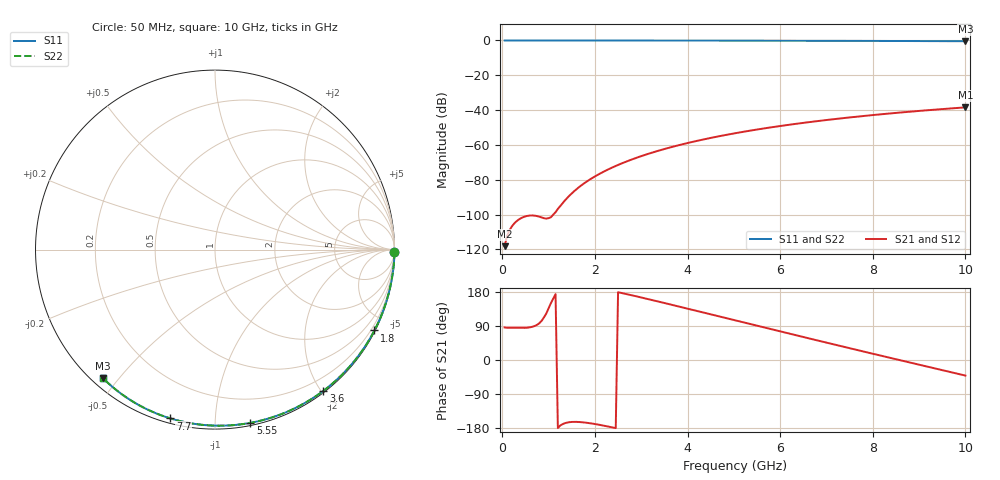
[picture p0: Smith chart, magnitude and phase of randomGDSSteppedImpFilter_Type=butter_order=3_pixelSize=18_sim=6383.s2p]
! freq	dB(S11)	phase(S11)	dB(S12)	phase(S12)
!  dB(S21)	phase(S21)	dB(S22)	phase(S22)
!S-par simulation data
#  GHz  S  DB  R 50
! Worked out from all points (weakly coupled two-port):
!   200 points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, 50 MHz to 10 GHz, reference 50 ohm
!   highest |S21| = -38.43 dB at 10 GHz (marker M1); lowest = -118.1 dB at 50 MHz (marker M2)
!   lowest |S11| = -0.4 dB at 10 GHz (marker M3), VSWR 39.17, Z = 1.54 - j22.7 ohm
!   |S11| at or under -10 dB: nowhere
!   |S22| runs from -0.4 to 0.0 dB; largest |S21 - S12| = 0
!   S11 on the Smith chart (normalised r, x): 50 MHz: open; 1.8 GHz: 0.04, -4.19; 3.6 GHz: 0.02, -2.03; 5.55 GHz: 0.02, -1.22; 7.7 GHz: 0.02, -0.77; 10 GHz: 0.03, -0.45
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0.05  -0.00 -0.8  -118.13 85.9  -118.13 85.9  -0.00 -0.8
0.9  -0.02 -13.6  -102.07 112.5  -102.07 112.5  -0.02 -13.6
1.75  -0.03 -26.1  -82.37 -164.6  -82.37 -164.6  -0.03 -26.1
1.8  -0.03 -26.9  -81.43 -165.3  -81.43 -165.3  -0.03 -26.9
1.85  -0.04 -27.6  -80.55 -166.1  -80.55 -166.1  -0.04 -27.6
1.9  -0.04 -28.3  -79.69 -167.0  -79.69 -167.0  -0.04 -28.3
2.05  -0.04 -30.5  -77.32 -170.0  -77.32 -170.0  -0.04 -30.5
2.25  -0.04 -33.4  -74.53 -174.7  -74.53 -174.7  -0.04 -33.4
2.45  -0.05 -36.3  -72.05 -179.8  -72.05 -179.8  -0.05 -36.3
2.65  -0.05 -39.2  -69.83 174.9  -69.83 174.9  -0.05 -39.2
3  -0.06 -44.2  -66.43 165.0  -66.43 165.0  -0.06 -44.2
3.4  -0.07 -49.8  -63.09 153.4  -63.09 153.4  -0.07 -49.8
3.6  -0.07 -52.6  -61.60 147.5  -61.60 147.5  -0.07 -52.6
4.3  -0.09 -62.1  -57.09 126.6  -57.09 126.6  -0.09 -62.1
5.05  -0.11 -72.0  -53.16 104.0  -53.16 104.0  -0.11 -72.0
5.55  -0.13 -78.5  -50.93 89.0  -50.93 89.0  -0.13 -78.5
6.1  -0.15 -85.4  -48.75 72.5  -48.75 72.5  -0.15 -85.4
6.7  -0.18 -92.8  -46.64 54.7  -46.64 54.7  -0.18 -92.8
7.7  -0.24 -104.8  -43.64 25.3  -43.64 25.3  -0.24 -104.8
8.35  -0.29 -112.4  -41.96 6.4  -41.96 6.4  -0.29 -112.4
9.15  -0.36 -121.5  -40.13 -16.7  -40.13 -16.7  -0.36 -121.6
10  -0.44 -131.1  -38.43 -41.1  -38.43 -41.1  -0.44 -131.1
